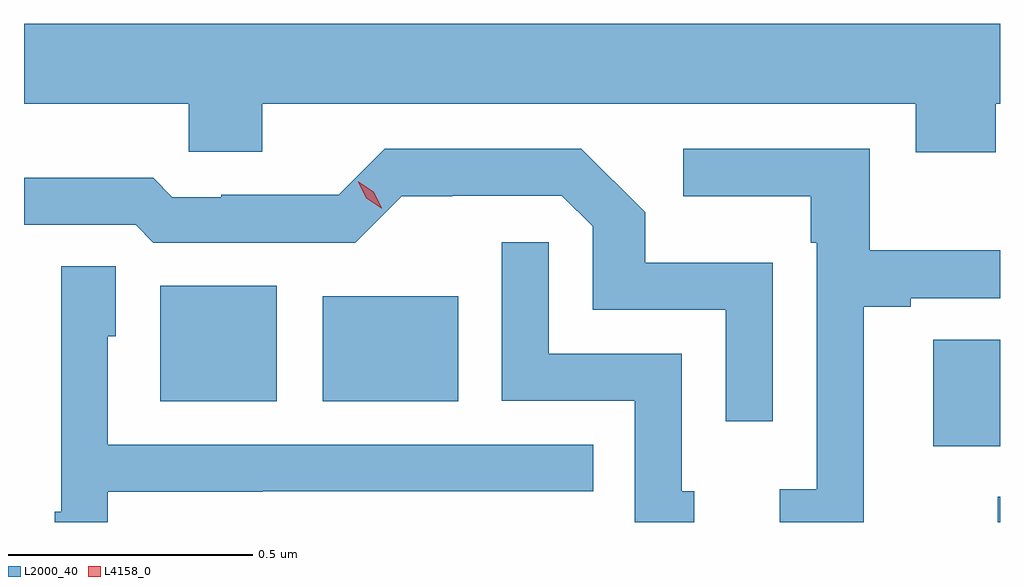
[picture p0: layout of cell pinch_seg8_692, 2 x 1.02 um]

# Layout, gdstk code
import gdstk
lib = gdstk.Library(unit=1e-6, precision=1e-09)
def R(c, l, rs):  # rectangles x0, y0, x1, y1
    for r in rs: c.add(gdstk.rectangle(r[:2], r[2:], *l))
def P(c, l, *ps):  # polygons
    for p in ps: c.add(gdstk.Polygon(p, *l))
L2000_40 = (2000, 40)
L4158_0 = (4158, 0)

pinch_seg8_692 = lib.new_cell('pinch_seg8_692')
R(pinch_seg8_692, L2000_40, [(364.391,1120.971,364.396,1121.023), (364.259,1121.126,364.396,1121.345), (362.675,1121.219,362.914,1121.455), (363.008,1121.219,363.286,1121.434)])
P(pinch_seg8_692, L2000_40, [(364.387,1121.828),(364.396,1121.828),(364.396,1121.992),(362.396,1121.992),(362.396,1121.828),(362.734,1121.828),(362.734,1121.73),(362.884,1121.73),(362.884,1121.828),(364.223,1121.828),(364.223,1121.729),(364.387,1121.729)],
  [(363.93,1121.503),(363.669,1121.503),(363.669,1121.606),(363.538,1121.736),(363.135,1121.736),(363.041,1121.642),(362.8,1121.642),(362.8,1121.637),(362.7,1121.637),(362.661,1121.677),(362.396,1121.677),(362.396,1121.58),(362.625,1121.58),(362.661,1121.544),(363.075,1121.544),(363.17,1121.639),(363.274,1121.639),(363.274,1121.64),(363.498,1121.64),(363.561,1121.577),(363.561,1121.406),(363.834,1121.406),(363.834,1121.178),(363.93,1121.178)],
  [(364.117,1121.412),(364.213,1121.412),(364.213,1121.43),(364.396,1121.43),(364.396,1121.528),(364.129,1121.528),(364.129,1121.736),(363.747,1121.736),(363.747,1121.639),(364.008,1121.639),(364.008,1121.543),(364.02,1121.543),(364.02,1121.038),(363.945,1121.038),(363.945,1120.971),(364.117,1120.971)],
  [(363.769,1121.034),(363.744,1121.034),(363.744,1121.316),(363.471,1121.316),(363.471,1121.545),(363.375,1121.545),(363.375,1121.22),(363.648,1121.22),(363.648,1120.971),(363.769,1120.971)],
  [(362.568,1121.033),(362.885,1121.033),(362.885,1121.034),(363.563,1121.034),(363.563,1121.13),(362.568,1121.13),(362.568,1121.352),(362.584,1121.352),(362.584,1121.495),(362.472,1121.495),(362.472,1120.992),(362.459,1120.992),(362.459,1120.971),(362.568,1120.971)])
P(pinch_seg8_692, L4158_0, [(363.128,1121.614),(363.097,1121.635),(363.081,1121.669),(363.081,1121.669),(363.082,1121.669),(363.113,1121.648),(363.129,1121.614),(363.129,1121.614)])

lib.write_gds('pinch_seg8_692.gds')
